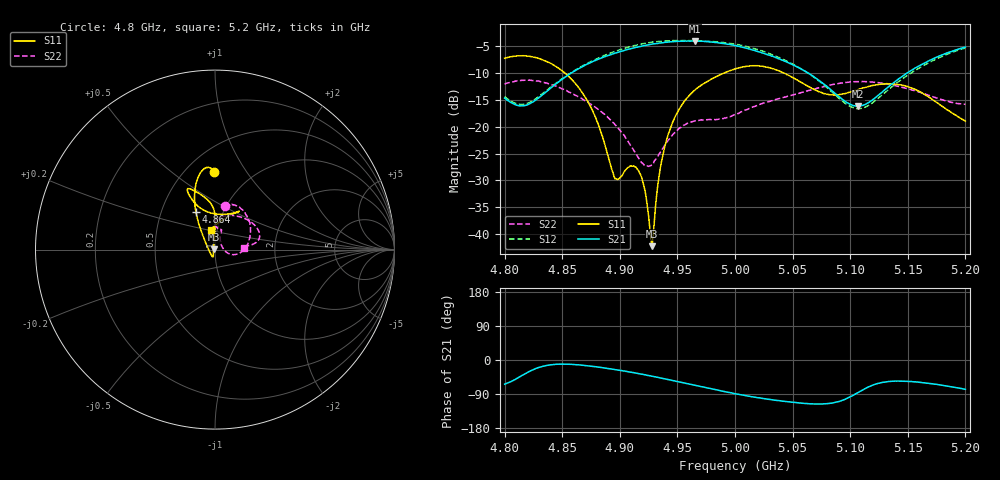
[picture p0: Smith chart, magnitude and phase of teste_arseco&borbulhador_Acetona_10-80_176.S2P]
! Network Analyzer HP8722D
! Hewlett-Packard
! Data name: Linha & Wilkinson
! Saver's name: Rodrigo Anjos
! Comments: Teste da utilização de aquisição
! continua pelo VNA HP8722D
! Time and date: 25/4/2025 16:44
!  Frequency  S11  S21  S12  S22
# HZ  S  MA R 50
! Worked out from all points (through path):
!   401 points, 4.8 GHz to 5.2 GHz, reference 50 ohm
!   highest |S21| = -3.99 dB at 4.965 GHz (marker M1); lowest = -16.2 dB at 5.107 GHz (marker M2)
!   lowest |S11| = -42.3 dB at 4.928 GHz (marker M3), VSWR 1.02, Z = 49.2 + j0.0951 ohm
!   |S11| at or under -10 dB: 4.852 GHz to 4.99 GHz (137.7 MHz wide, 2.8 % of centre); 5.043 GHz to end of sweep
!   |S22| runs from -27.4 to -11.3 dB; largest |S21 - S12| = 1.2
!   S11 on the Smith chart (normalised r, x): 4.8 GHz: 0.67, +0.72; 4.864 GHz: 0.75, +0.33; 5.2 GHz: 0.94, +0.21
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4.8e9  0.4351 91.0  0.1855 -63.9  0.1912 69.5  0.2492 77.2
4.82e9  0.4547 97.2  0.1606 -32.5  0.1667 98.2  0.273 61.8
4.843e9  0.3738 106.6  0.2441 -11.8  0.2477 118.9  0.2442 37.0
4.864e9  0.2343 116.9  0.3471 -12.6  0.3511 121.0  0.1909 12.5
4.867e9  0.2112 118.6  0.3617 -13.6  0.3662 120.8  0.1838 8.8
4.88e9  0.1139 128.5  0.4214 -18.2  0.4307 118.4  0.1489 -4.8
4.896e9  0.03273 -169.9  0.4869 -25.2  0.505 113.3  0.1046 -15.4
4.91e9  0.04311 -108.5  0.5374 -32.3  0.5627 107.1  0.06548 -13.0
4.917e9  0.03742 -104.8  0.56 -36.2  0.5865 103.7  0.04958 -0.8
4.921e9  0.02791 -108.6  0.5724 -38.7  0.5981 101.4  0.04416 12.5
4.928e9  0.007713 172.8  0.5894 -42.8  0.6162 97.2  0.04465 40.0
4.934e9  0.03413 100.5  0.6027 -46.7  0.6274 93.4  0.05552 57.2
4.939e9  0.06526 93.7  0.6131 -49.7  0.6323 90.2  0.06755 65.0
4.946e9  0.111 90.4  0.6223 -54.3  0.6379 85.9  0.08471 69.7
4.965e9  0.2192 91.3  0.6318 -66.8  0.6363 73.6  0.1133 71.0
5e9  0.3465 109.4  0.572 -88.9  0.5911 51.0  0.1305 88.3
5.031e9  0.3528 115.3  0.4599 -104.5  0.4768 33.5  0.1739 84.7
5.067e9  0.2274 105.6  0.3007 -115.8  0.2981 23.6  0.2227 57.3
5.107e9  0.2228 64.6  0.1557 -85.4  0.1476 57.6  0.2638 24.3
5.134e9  0.2521 57.8  0.2399 -56.6  0.2253 88.7  0.2482 12.4
5.168e9  0.1906 70.0  0.4114 -61.5  0.3951 85.4  0.1965 7.1
5.2e9  0.1128 100.8  0.5545 -77.4  0.5427 70.3  0.1621 3.8
